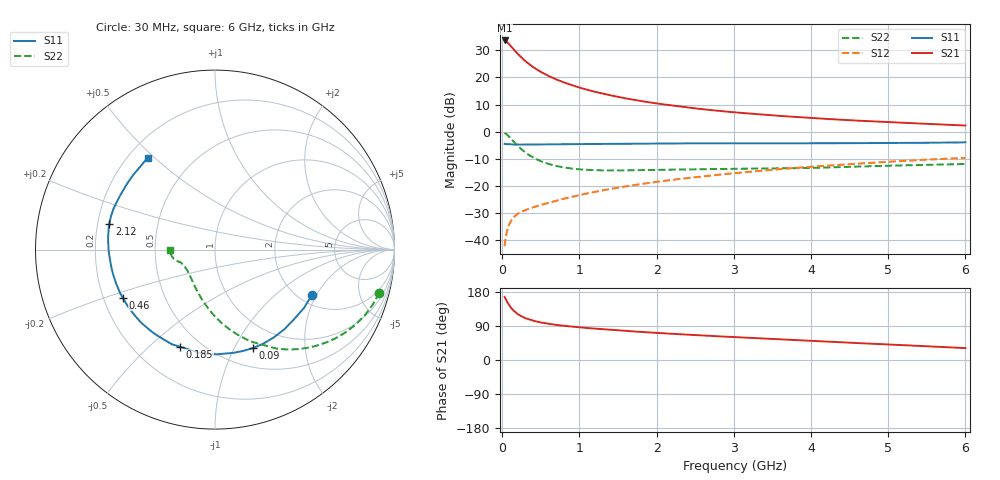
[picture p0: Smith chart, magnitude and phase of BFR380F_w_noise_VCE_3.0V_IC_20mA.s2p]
! (c) 2015  Infineon Technologies AG, Munich
! Infineon Technologies  Discrete & RF Semiconductors
! BFR380F
! VCE =  3.0 V,  IC =  20 mA
! Common Emitter S-Parameters:  Nov 2015
# GHz  S  MA  R  50
!  f  S11  S21  S12  S22
! GHz  MAG  ANG  MAG  ANG  MAG  ANG  MAG  ANG
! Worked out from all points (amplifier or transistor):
!   206 points, 30 MHz to 6 GHz, reference 50 ohm
!   highest |S21| = 33.7 dB at 30 MHz (marker M1)
!   |S21| within 3 dB of that: start of sweep to 138.8 MHz
!   unconditionally stable (mu >= 1): 1.338 GHz to 5.04 GHz
!   at 200 MHz: K = 0.38, MSG = 29.5 dB, |S12| = -30.3 dB
!   at 1.56 GHz: K = 1.02, MAG = 15.6 dB, |S12| = -20.4 dB
!   at 6 GHz: K = 0.99, MSG = 6.0 dB, |S12| = -9.7 dB
!   lowest NFmin = 1.04 dB at 900 MHz
!   S11 on the Smith chart (normalised r, x): 30 MHz: 2.32, -1.84; 90 MHz: 0.71, -1.19; 185 MHz: 0.39, -0.63; 460 MHz: 0.28, -0.23; 2.12 GHz: 0.25, +0.11; 6 GHz: 0.28, +0.48
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0.03  0.596 -25.3  48.18 166.6  0.0077 80.8  0.9472 -14.7
0.05  0.587 -41.8  46.48 158.0  0.0123 73.9  0.9104 -24.0
0.07  0.5888 -56.5  43.79 150.7  0.0163 69.3  0.8602 -32.5
0.09  0.588 -69.0  40.87 144.4  0.0196 64.2  0.8053 -40.1
0.11  0.5843 -79.8  38.02 138.7  0.0223 60.6  0.7499 -46.9
0.14  0.5814 -94.0  33.95 131.6  0.0257 56.5  0.673 -55.6
0.185  0.5752 -109.8  28.79 123.8  0.0293 52.6  0.5753 -65.4
0.2  0.5797 -114.7  27.22 120.9  0.0305 51.6  0.5471 -69.1
0.24  0.5769 -123.8  23.92 116.3  0.0327 50.3  0.4845 -75.8
0.3  0.5789 -135.2  19.94 110.3  0.0357 49.5  0.4118 -84.8
0.36  0.5786 -143.1  17.07 106.2  0.0384 49.8  0.3606 -91.8
0.46  0.5802 -152.5  13.68 100.7  0.0427 51.4  0.3019 -101.6
0.6  0.5826 -161.3  10.65 95.5  0.0487 54.1  0.2533 -112.7
0.7  0.5842 -165.9  9.184 92.7  0.0532 55.9  0.2322 -119.2
1.04  0.5897 -176.3  6.261 85.4  0.0695 60.6  0.1996 -135.3
1.4  0.5959 176.3  4.676 79.6  0.0875 63.3  0.1924 -146.1
2.02  0.6053 167.4  3.285 71.4  0.1195 65.1  0.1966 -154.8
2.12  0.6062 166.2  3.142 70.2  0.1247 65.1  0.1978 -155.6
3.1  0.6087 156.0  2.218 59.5  0.1765 64.2  0.2068 -160.5
4.1  0.6101 145.7  1.753 49.4  0.2303 61.1  0.2159 -162.1
5.1  0.6178 136.2  1.478 40.1  0.283 57.0  0.237 -168.1
6  0.6347 126.2  1.296 31.4  0.3279 52.2  0.2528 -178.9
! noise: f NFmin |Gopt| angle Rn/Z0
0.45  1.07  0.2  173  0.08
0.9  1.04  0.26  171  0.07
1.8  1.27  0.36  -175  0.07
1.9  1.34  0.37  -176  0.07
2.4  1.43  0.39  -165  0.09
3.5  2.02  0.48  -153  0.13
